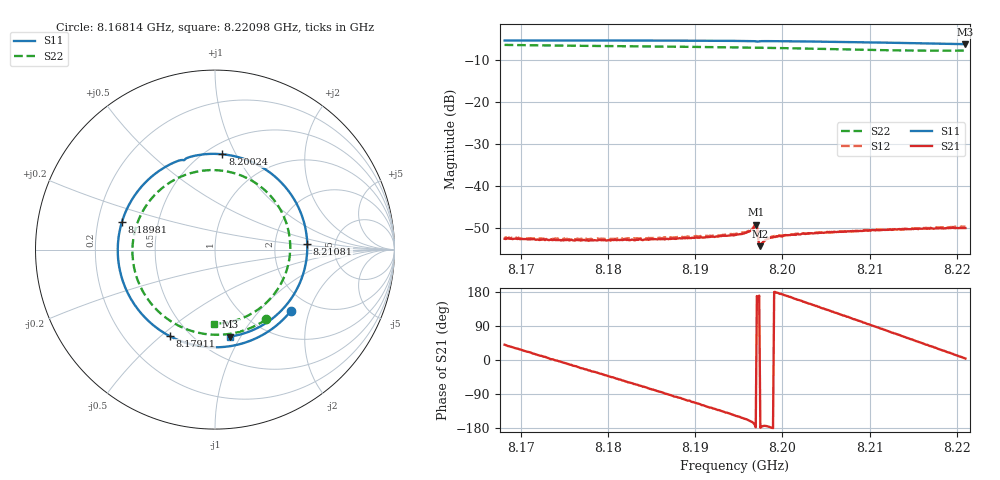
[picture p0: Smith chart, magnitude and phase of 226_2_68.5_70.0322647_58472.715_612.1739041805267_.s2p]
#  HZ  S  RI  R  50.00
! Rohde & Schwarz Vector Network Analyzer
! Rohde-Schwarz,ZNB20-2Port,1311601062101988,3.16
! Created: UTC 3/20/2024, 4:58:45 PM
! freq[Hz]  re:S11  im:S11  re:S21  im:S21  re:S12  im:S12  re:S22  im:S22
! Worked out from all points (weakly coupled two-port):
!   401 points, 8.16814 GHz to 8.22098 GHz, reference 50 ohm
!   highest |S21| = -49.24 dB at 8.19694 GHz (marker M1); lowest = -54.4 dB at 8.19747 GHz (marker M2)
!   lowest |S11| = -6.2 dB at 8.22098 GHz (marker M3), VSWR 2.94, Z = 35.4 - j45.3 ohm
!   |S11| at or under -10 dB: nowhere
!   |S22| runs from -7.7 to -6.3 dB; largest |S21 - S12| = 0.00018
!   S11 on the Smith chart (normalised r, x): 8.16814 GHz: 1.57, -1.52; 8.17911 GHz: 0.39, -0.53; 8.18981 GHz: 0.30, +0.13; 8.20024 GHz: 0.60, +0.88; 8.21081 GHz: 3.10, +0.27; 8.22098 GHz: 0.71, -0.91
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8.168144e9  0.4233 -0.3414  0.00178 0.00152  0.00182 0.00155  0.2846 -0.389
8.172767e9  0.1687 -0.5177  0.00223 0.000327  0.00228 0.000325  0.0345 -0.4742
8.176994e9  -0.1168 -0.5316  0.00208 -0.000842  0.00217 -0.000862  -0.1987 -0.426
8.179107e9  -0.253 -0.4815  0.00183 -0.00134  0.00188 -0.00139  -0.2981 -0.3604
8.182673e9  -0.4381 -0.3214  0.00111 -0.00199  0.00111 -0.00205  -0.4175 -0.2022
8.185843e9  -0.5286 -0.1219  0.000264 -0.00231  0.000261 -0.00239  -0.4595 -0.0318
8.189806e9  -0.5192 0.152  -0.000861 -0.00224  -0.000968 -0.00228  -0.4184 0.1824
8.192052e9  -0.4527 0.294  -0.00153 -0.00196  -0.00162 -0.00198  -0.3511 0.2873
8.194561e9  -0.3329 0.4229  -0.00216 -0.00144  -0.00226 -0.00141  -0.2451 0.3778
8.196014e9  -0.2457 0.4773  -0.00262 -0.00106  -0.00271 -0.000976  -0.1718 0.4137
8.196807e9  -0.1913 0.4983  -0.00324 -0.000568  -0.00336 -0.00043  -0.1295 0.4274
8.196939e9  -0.1812 0.4993  -0.00345 -0.000143  -0.00354 -1.76e-05  -0.1223 0.4293
8.197467e9  -0.1555 0.5105  -0.00191 -3.29e-05  -0.00197 7.56e-05  -0.0933 0.4358
8.198524e9  -0.0804 0.5286  -0.00239 -0.000147  -0.0024 -5.09e-05  -0.034 0.4426
8.200241e9  0.0412 0.5312  -0.00255 0.000407  -0.00253 0.000489  0.0634 0.436
8.203411e9  0.2534 0.464  -0.00225 0.00154  -0.00226 0.00161  0.2306 0.3681
8.207374e9  0.4488 0.2665  -0.00117 0.00261  -0.00111 0.00264  0.3794 0.1934
8.210808e9  0.5139 0.0326  0.000177 0.00297  0.000251 0.00301  0.4186 -0.0074
8.212261e9  0.5068 -0.0714  0.00079 0.00291  0.000854 0.00289  0.4051 -0.0956
8.214638e9  0.4501 -0.2317  0.00173 0.00251  0.00183 0.00251  0.343 -0.2296
8.217148e9  0.3358 -0.3709  0.00255 0.0018  0.00265 0.00177  0.2295 -0.341
8.220978e9  0.0862 -0.4842  0.00313 0.000214  0.00325 0.000106  -0.00779 -0.4129
